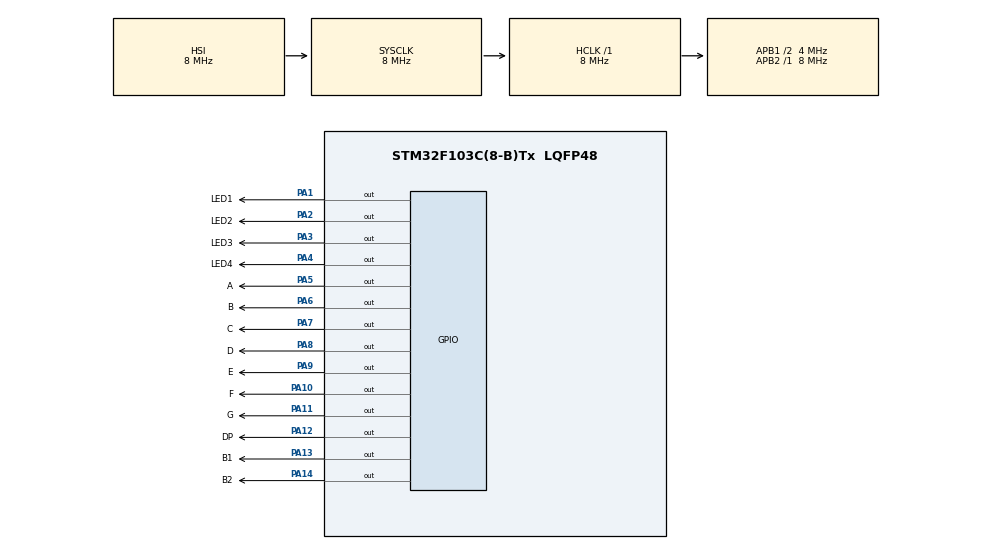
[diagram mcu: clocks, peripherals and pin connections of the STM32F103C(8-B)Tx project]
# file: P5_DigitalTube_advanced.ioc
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Mcu.Family=STM32F1
Mcu.Name=STM32F103C(8-B)Tx
Mcu.Package=LQFP48
NVIC.PriorityGroup=NVIC_PRIORITYGROUP_4
NVIC.TIM2_IRQn=true\:0\:0\:false\:false\:true\:true\:true\:true
PA1.GPIO_Label=LED1
PA1.PinState=GPIO_PIN_SET
PA1.Signal=GPIO_Output
PA10.GPIO_Label=F
PA10.Signal=GPIO_Output
PA11.GPIO_Label=G
PA11.Signal=GPIO_Output
PA12.GPIO_Label=DP
PA12.Signal=GPIO_Output
PA13.GPIO_Label=B1
PA13.Signal=GPIO_Output
PA14.GPIO_Label=B2
PA14.Signal=GPIO_Output
PA2.GPIO_Label=LED2
PA2.PinState=GPIO_PIN_SET
PA2.Signal=GPIO_Output
PA3.GPIO_Label=LED3
PA3.PinState=GPIO_PIN_SET
PA3.Signal=GPIO_Output
PA4.GPIO_Label=LED4
PA4.PinState=GPIO_PIN_SET
PA4.Signal=GPIO_Output
PA5.GPIO_Label=A
PA5.Signal=GPIO_Output
PA6.GPIO_Label=B
PA6.Signal=GPIO_Output
PA7.GPIO_Label=C
PA7.Signal=GPIO_Output
PA8.GPIO_Label=D
PA8.Signal=GPIO_Output
PA9.GPIO_Label=E
PA9.Signal=GPIO_Output
PC14-OSC32_IN.Mode=LSE-External-Oscillator
PC14-OSC32_IN.Signal=RCC_OSC32_IN
PC15-OSC32_OUT.Mode=LSE-External-Oscillator
PC15-OSC32_OUT.Signal=RCC_OSC32_OUT
PD0-OSC_IN.Mode=HSE-External-Oscillator
PD0-OSC_IN.Signal=RCC_OSC_IN
PD1-OSC_OUT.Mode=HSE-External-Oscillator
PD1-OSC_OUT.Signal=RCC_OSC_OUT
ProjectManager.HeapSize=0x200
ProjectManager.StackSize=0x400
ProjectManager.TargetToolchain=MDK-ARM V5.32
RCC.AHBFreq_Value=8000000
RCC.APB1CLKDivider=RCC_HCLK_DIV2
RCC.APB1Freq_Value=4000000
RCC.APB1TimFreq_Value=8000000
RCC.APB2Freq_Value=8000000
RCC.APB2TimFreq_Value=8000000
RCC.HCLKFreq_Value=8000000
RCC.PLLMUL=RCC_PLL_MUL9
RCC.PLLSourceVirtual=RCC_PLLSOURCE_HSE
RCC.SYSCLKFreq_VALUE=8000000
RCC.USBFreq_Value=72000000
TIM2.Period=9
TIM2.Prescaler=7199
VP_SYS_VS_ND.Mode=No_Debug
VP_TIM2_VS_ClockSourceINT.Mode=Internal
board=custom

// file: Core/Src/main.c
/* USER CODE BEGIN Header */
/**
  ******************************************************************************
  * @file           : main.c
  * @brief          : Main program body
  ******************************************************************************
  * @attention
  *
  * Copyright (c) 2026 STMicroelectronics.
  * All rights reserved.
  *
  * This software is licensed under terms that can be found in the LICENSE file
  * in the root directory of this software component.
  * If no LICENSE file comes with this software, it is provided AS-IS.
  *
  ******************************************************************************
  */
/* USER CODE END Header */
#include "main.h"
#include "tim.h"
#include "gpio.h"

/* USER CODE BEGIN PV */
uint8_t led_index = 0;//全局状态变量 led_index，记录当前应该点亮第几个LED：0~3
/*
为什么这里一定推荐 volatile
因为：timer_ms不是只在普通程序里面变化。
它会在：HAL_TIM_PeriodElapsedCallback()
也就是中断回调函数里面被修改。
所以：volatile uint32_t timer_ms;
是在告诉编译器：
这个变量可能在你意想不到的时候被中断修改，所以每次使用时都重新读取真实值，不要自作聪明缓存或优化。*/
volatile uint32_t system_ms = 0;//整个程序从 TIM2 启动以后经过了多少毫秒。
volatile uint8_t led_update_flag = 0;//流水灯的500ms时间到了没有
volatile uint8_t display_update_flag = 0;
/* 当前应该显示哪一位：
   0 = 第一位
   1 = 第二位
为什么用 volatile？
因为：
中断函数
HAL_TIM_PeriodElapsedCallback()
        ↓
修改 display_update_flag

main()
        ↓
读取 display_update_flag
它是一个：中断与主程序共享的变量
所以：volatile告诉编译器：
这个变量可能突然被中断修改，每次都真正从内存读取，不要认为它一直没变。
*/
uint8_t display_index = 0;
uint8_t num = 0;             // 当前显示的数字，0~99
uint32_t last_num_time = 0;  // 上一次更新数字的时间
/* USER CODE END PV */

void SystemClock_Config(void);
/* USER CODE BEGIN PFP */
uint8_t Timer_Elapsed(uint32_t *last_time, uint32_t interval_ms);//检查指定时间到了没有。
void LED_Run(void);
void Display_Scan(void);
/* USER CODE END PFP */

int main(void)
{

  /* MCU Configuration--------------------------------------------------------*/

  /* Reset of all peripherals, Initializes the Flash interface and the Systick. */
  HAL_Init();

  /* Configure the system clock */
  SystemClock_Config();

  /* Initialize all configured peripherals */
  MX_GPIO_Init();
  MX_TIM2_Init();
  /* USER CODE BEGIN 2 */
  HAL_TIM_Base_Start_IT(&htim2);//启动定时器，原因前面的GPIO 和 TIM2 都初始化完成了，才能正式启动 TIM2 中断。
  /* USER CODE END 2 */

  /* Infinite loop */
  /* USER CODE BEGIN WHILE */
  while (1)
  {
//  //��һ������ʽ��ѯ������ˮ��
//  HAL_GPIO_WritePin(LED1_GPIO_Port,LED1_Pin,GPIO_PIN_RESET);
//  HAL_GPIO_WritePin(LED2_GPIO_Port,LED2_Pin,GPIO_PIN_SET);
//  HAL_GPIO_WritePin(LED3_GPIO_Port,LED3_Pin,GPIO_PIN_SET);
//  HAL_GPIO_WritePin(LED4_GPIO_Port,LED4_Pin,GPIO_PIN_SET);
//  HAL_Delay(500);
//  HAL_GPIO_WritePin(LED1_GPIO_Port,LED1_Pin,GPIO_PIN_SET);
//  HAL_GPIO_WritePin(LED2_GPIO_Port,LED2_Pin,GPIO_PIN_RESET);
//  HAL_GPIO_WritePin(LED3_GPIO_Port,LED3_Pin,GPIO_PIN_SET);
//  HAL_GPIO_WritePin(LED4_GPIO_Port,LED4_Pin,GPIO_PIN_SET);
//  HAL_Delay(500);
//  HAL_GPIO_WritePin(LED1_GPIO_Port,LED1_Pin,GPIO_PIN_SET);
//  HAL_GPIO_WritePin(LED2_GPIO_Port,LED2_Pin,GPIO_PIN_SET);
//  HAL_GPIO_WritePin(LED3_GPIO_Port,LED3_Pin,GPIO_PIN_RESET);
//  HAL_GPIO_WritePin(LED4_GPIO_Port,LED4_Pin,GPIO_PIN_SET);
//  HAL_Delay(500);
//  HAL_GPIO_WritePin(LED1_GPIO_Port,LED1_Pin,GPIO_PIN_SET);
//  HAL_GPIO_WritePin(LED2_GPIO_Port,LED2_Pin,GPIO_PIN_SET);
//  HAL_GPIO_WritePin(LED3_GPIO_Port,LED3_Pin,GPIO_PIN_SET);
//  HAL_GPIO_WritePin(LED4_GPIO_Port,LED4_Pin,GPIO_PIN_RESET);
//  HAL_Delay(500);

 //��������λȡ�� NOT

// // LED1����������
//    HAL_GPIO_WritePin(GPIOA, LED1_Pin | LED2_Pin | LED3_Pin | LED4_Pin,GPIO_PIN_SET);
//    HAL_GPIO_WritePin(GPIOA, LED1_Pin, GPIO_PIN_RESET);
//    HAL_Delay(500);
//    // LED2����������
//    HAL_GPIO_WritePin(GPIOA, LED1_Pin | LED2_Pin | LED3_Pin | LED4_Pin,GPIO_PIN_SET);
//    HAL_GPIO_WritePin(GPIOA, LED2_Pin, GPIO_PIN_RESET);
//    HAL_Delay(500);

//    // LED3����������
//    HAL_GPIO_WritePin(GPIOA,LED1_Pin | LED2_Pin | LED3_Pin | LED4_Pin, GPIO_PIN_SET);
//    HAL_GPIO_WritePin(GPIOA, LED3_Pin, GPIO_PIN_RESET);
//    HAL_Delay(500);

//    //LED4����������
//    HAL_GPIO_WritePin(GPIOA,LED1_Pin | LED2_Pin | LED3_Pin | LED4_Pin,GPIO_PIN_SET);
//    HAL_GPIO_WritePin(GPIOA, LED4_Pin, GPIO_PIN_RESET);
//    HAL_Delay(500);

/* ---------- 500ms流水灯任务 ---------- */
    if (led_update_flag)
    {
        led_update_flag = 0;
        LED_Run();
    }

    /* ---------- 1ms数码管扫描任务 ---------- */
    if (display_update_flag)
    {
        display_update_flag = 0;
        Display_Scan();
    }

//    /* 任务3：新增0~99自动计数 */
//    if (Timer_Elapsed(&last_num_time, 100))
//    {
//        num++;

//        if (num >= 100)
//        {
//            num = 0;
//        }
//    }
    /* USER CODE END WHILE */

  }
}

void SystemClock_Config(void)
{
  RCC_OscInitTypeDef RCC_OscInitStruct = {0};
  RCC_ClkInitTypeDef RCC_ClkInitStruct = {0};

  /** Initializes the RCC Oscillators according to the specified parameters
  * in the RCC_OscInitTypeDef structure.
  */
  RCC_OscInitStruct.OscillatorType = RCC_OSCILLATORTYPE_HSI;
  RCC_OscInitStruct.HSIState = RCC_HSI_ON;
  RCC_OscInitStruct.HSICalibrationValue = RCC_HSICALIBRATION_DEFAULT;
  RCC_OscInitStruct.PLL.PLLState = RCC_PLL_NONE;
  if (HAL_RCC_OscConfig(&RCC_OscInitStruct) != HAL_OK)
  {
    Error_Handler();
  }

  /** Initializes the CPU, AHB and APB buses clocks
  */
  RCC_ClkInitStruct.ClockType = RCC_CLOCKTYPE_HCLK|RCC_CLOCKTYPE_SYSCLK
                              |RCC_CLOCKTYPE_PCLK1|RCC_CLOCKTYPE_PCLK2;
  RCC_ClkInitStruct.SYSCLKSource = RCC_SYSCLKSOURCE_HSI;
  RCC_ClkInitStruct.AHBCLKDivider = RCC_SYSCLK_DIV1;
  RCC_ClkInitStruct.APB1CLKDivider = RCC_HCLK_DIV2;
  RCC_ClkInitStruct.APB2CLKDivider = RCC_HCLK_DIV1;

  if (HAL_RCC_ClockConfig(&RCC_ClkInitStruct, FLASH_LATENCY_0) != HAL_OK)
  {
    Error_Handler();
  }
}

/* USER CODE BEGIN 4 */
//非阻塞方式延时
uint8_t Timer_Elapsed(uint32_t *last_time, uint32_t interval_ms)
{
    uint32_t now = system_ms;

    if ((uint32_t)(now - *last_time) >= interval_ms)
    {
        *last_time = now;

        return 1;
    }

    return 0;//未到时间，直接返回去做其他事情，不等待
  }
void HAL_TIM_PeriodElapsedCallback(TIM_HandleTypeDef *htim)
{
    static uint8_t led_tick = 0;
/*
  第一次进入 TIM2 中断：led_tick = 0↓led_tick++↓1
退出中断以后，因为有：static
所以值不会消失。下一次进入：原来是1↓led_tick++↓2一直：1...500到了：500ms
执行：
led_tick = 0;
led_update_flag = 1;
于是：又从0开始计下一个500ms*/
    if (htim->Instance == TIM2)
    {
        /* 每进入一次TIM2中断，就代表经过1ms */
        system_ms++;
/* ==============================
           数码管任务
           每1ms刷新一次
           ============================== */
        display_update_flag = 1;

        /* 流水灯自己的计时器 */
        led_tick++;

        /* 每500ms通知主程序切换一次LED */
        if (led_tick >= 125)
        {
            led_tick = 0;

            led_update_flag = 1;
          /*没有直接调用：LED_Run();
          中断尽可能只负责计时、记录状态、设置标志，，然后马上退出。*/
        }
    }
}

void LED_Run(void)
{
    /* 先关闭全部LED */
    HAL_GPIO_WritePin(LED1_GPIO_Port, LED1_Pin, GPIO_PIN_SET);
    HAL_GPIO_WritePin(LED2_GPIO_Port, LED2_Pin, GPIO_PIN_SET);
    HAL_GPIO_WritePin(LED3_GPIO_Port, LED3_Pin, GPIO_PIN_SET);
    HAL_GPIO_WritePin(LED4_GPIO_Port, LED4_Pin, GPIO_PIN_SET);

    /* 根据led_index点亮对应LED */
    if (led_index == 0)
    {
        HAL_GPIO_WritePin(LED1_GPIO_Port, LED1_Pin, GPIO_PIN_RESET);
    }
    else if (led_index == 1)
    {
        HAL_GPIO_WritePin(LED2_GPIO_Port, LED2_Pin, GPIO_PIN_RESET);
    }
    else if (led_index == 2)
    {
        HAL_GPIO_WritePin(LED3_GPIO_Port, LED3_Pin, GPIO_PIN_RESET);
    }
    else if (led_index == 3)
    {
        HAL_GPIO_WritePin(LED4_GPIO_Port, LED4_Pin, GPIO_PIN_RESET);
    }

    /* 切换到下一个LED */
    led_index++;

    if (led_index >= 4)
    {
        led_index = 0;
    }
}
void Display_Scan(void)
{
//      static const uint8_t duan[10] =
//    {
//        0xC0, 0xF9, 0xA4, 0xB0, 0x99,
//        0x92, 0x82, 0xF8, 0x80, 0x90
//    };
//    uint8_t digit;
//    uint8_t code;

//    /* =================================================
//       第一步：先关闭两个数码管的位选
//       ================================================= */

//    HAL_GPIO_WritePin(B1_GPIO_Port, B1_Pin, GPIO_PIN_RESET);
//    HAL_GPIO_WritePin(B2_GPIO_Port, B2_Pin, GPIO_PIN_RESET);
///* 第二步：选择十位或者个位 */
//    if (display_index == 0)
//    {
//        digit = num / 10;
//    }
//    else
//    {
//        digit = num % 10;
//    }

//    /* 第三步：查找对应数字的段码 */
//    code = duan[digit];

//    /* 第四步：按照段码控制A~G和DP */
//    HAL_GPIO_WritePin(A_GPIO_Port, A_Pin,
//        (code & 0x01) ? GPIO_PIN_SET : GPIO_PIN_RESET);

//    HAL_GPIO_WritePin(B_GPIO_Port, B_Pin,
//        (code & 0x02) ? GPIO_PIN_SET : GPIO_PIN_RESET);

//    HAL_GPIO_WritePin(C_GPIO_Port, C_Pin,
//        (code & 0x04) ? GPIO_PIN_SET : GPIO_PIN_RESET);

//    HAL_GPIO_WritePin(D_GPIO_Port, D_Pin,
//        (code & 0x08) ? GPIO_PIN_SET : GPIO_PIN_RESET);

//    HAL_GPIO_WritePin(E_GPIO_Port, E_Pin,
//        (code & 0x10) ? GPIO_PIN_SET : GPIO_PIN_RESET);

//    HAL_GPIO_WritePin(F_GPIO_Port, F_Pin,
//        (code & 0x20) ? GPIO_PIN_SET : GPIO_PIN_RESET);

//    HAL_GPIO_WritePin(G_GPIO_Port, G_Pin,
//        (code & 0x40) ? GPIO_PIN_SET : GPIO_PIN_RESET);

//    HAL_GPIO_WritePin(DP_GPIO_Port, DP_Pin,
//        (code & 0x80) ? GPIO_PIN_SET : GPIO_PIN_RESET);

//    /* 第五步：打开对应数码管 */
//    if (display_index == 0)
//    {
//        HAL_GPIO_WritePin(B1_GPIO_Port, B1_Pin, GPIO_PIN_SET);
//        display_index = 1;
//    }
//    else
//    {
//        HAL_GPIO_WritePin(B2_GPIO_Port, B2_Pin, GPIO_PIN_SET);
//        display_index = 0;
//    }
    //下面为显示两位数字
    /* =================================================
       第一步：先关闭两个数码管的位选
       ================================================= */

    HAL_GPIO_WritePin(B1_GPIO_Port, B1_Pin, GPIO_PIN_RESET);
    HAL_GPIO_WritePin(B2_GPIO_Port, B2_Pin, GPIO_PIN_RESET);
    /* =================================================
       第二步：先关闭全部段选

       因为你使用的是共阳极数码管：

       段选：
       SET   = 1 = 灭
       RESET = 0 = 亮

       所以这里全部写SET，相当于全部熄灭。
       ================================================= */

    HAL_GPIO_WritePin(A_GPIO_Port, A_Pin, GPIO_PIN_SET);
    HAL_GPIO_WritePin(B_GPIO_Port, B_Pin, GPIO_PIN_SET);
    HAL_GPIO_WritePin(B_GPIO_Port, C_Pin, GPIO_PIN_SET);
    HAL_GPIO_WritePin(D_GPIO_Port, D_Pin, GPIO_PIN_SET);
    HAL_GPIO_WritePin(E_GPIO_Port, E_Pin, GPIO_PIN_SET);
    HAL_GPIO_WritePin(F_GPIO_Port, F_Pin, GPIO_PIN_SET);
    HAL_GPIO_WritePin(G_GPIO_Port, G_Pin, GPIO_PIN_SET);
    HAL_GPIO_WritePin(DP_GPIO_Port, DP_Pin, GPIO_PIN_SET);

    /* =================================================
       第三步：根据 display_index 决定显示哪一位
       ================================================= */

  if (display_index == 0)
  {
      /* ---------- 第一位的段码 ---------- */

    /* 数字2：A B D E G亮，C F灭 */
      HAL_GPIO_WritePin(A_GPIO_Port, A_Pin, GPIO_PIN_RESET);
      HAL_GPIO_WritePin(B_GPIO_Port, B_Pin, GPIO_PIN_RESET);
      HAL_GPIO_WritePin(D_GPIO_Port, D_Pin, GPIO_PIN_RESET);
      HAL_GPIO_WritePin(E_GPIO_Port, E_Pin, GPIO_PIN_RESET);
      HAL_GPIO_WritePin(G_GPIO_Port, G_Pin, GPIO_PIN_RESET);

      /* 段码准备完成之后，再打开第一位 */
      HAL_GPIO_WritePin(B1_GPIO_Port, B1_Pin, GPIO_PIN_SET);
      HAL_GPIO_WritePin(B2_GPIO_Port, B2_Pin, GPIO_PIN_RESET);

      /* 下一次显示第二位 */
      display_index = 1;
  }
  else
  {
      /* ---------- 第二位的段码 ---------- */

     /* 第二位：显示数字5 */

  HAL_GPIO_WritePin(A_GPIO_Port, A_Pin, GPIO_PIN_RESET);
  HAL_GPIO_WritePin(B_GPIO_Port, B_Pin, GPIO_PIN_SET);
  HAL_GPIO_WritePin(C_GPIO_Port, C_Pin, GPIO_PIN_RESET);
  HAL_GPIO_WritePin(D_GPIO_Port, D_Pin, GPIO_PIN_RESET);
  HAL_GPIO_WritePin(E_GPIO_Port, E_Pin, GPIO_PIN_SET);
  HAL_GPIO_WritePin(F_GPIO_Port, F_Pin, GPIO_PIN_RESET);
  HAL_GPIO_WritePin(G_GPIO_Port, G_Pin, GPIO_PIN_RESET);
  HAL_GPIO_WritePin(DP_GPIO_Port, DP_Pin, GPIO_PIN_SET);

  /* 开启第二位 */
  HAL_GPIO_WritePin(B1_GPIO_Port, B1_Pin, GPIO_PIN_RESET);
  HAL_GPIO_WritePin(B2_GPIO_Port, B2_Pin, GPIO_PIN_SET);

  display_index = 0;
  }
}
/* USER CODE END 4 */

void Error_Handler(void)
{
  __disable_irq();
  while (1)
  {
  }
}
